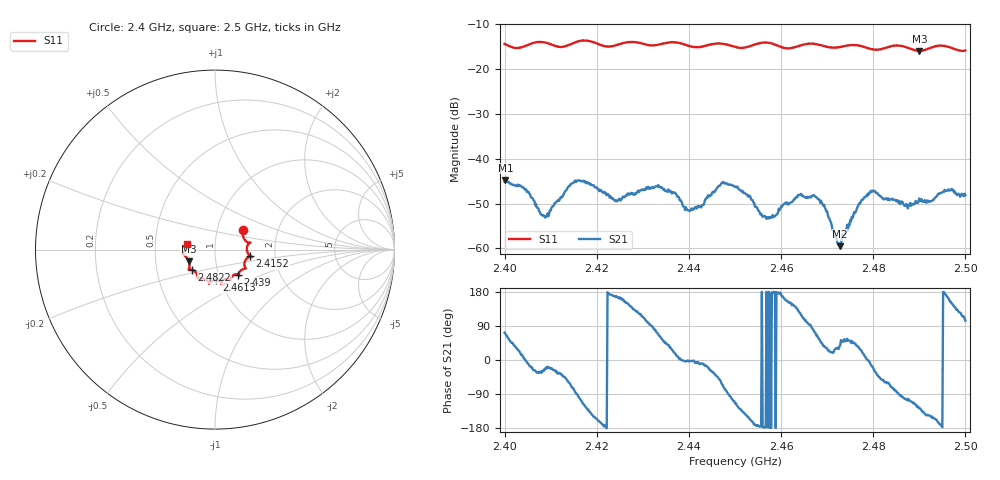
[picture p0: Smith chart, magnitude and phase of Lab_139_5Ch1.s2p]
# Hz S RI R 50
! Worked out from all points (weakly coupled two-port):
!   601 points, 2.4 GHz to 2.5 GHz, reference 50 ohm
!   highest |S21| = -44.73 dB at 2.4002 GHz (marker M1); lowest = -59.5 dB at 2.4728 GHz (marker M2)
!   lowest |S11| = -15.9 dB at 2.49 GHz (marker M3), VSWR 1.38, Z = 36.9 - j4.87 ohm
!   |S11| at or under -10 dB: start of sweep to end of sweep
!   S12 and S22 are empty: the file has one direction only
!   S11 on the Smith chart (normalised r, x): 2.4 GHz: 1.33, +0.31; 2.4152 GHz: 1.48, -0.11; 2.439 GHz: 1.24, -0.36; 2.4613 GHz: 0.96, -0.34; 2.4822 GHz: 0.76, -0.17; 2.5 GHz: 0.73, +0.05
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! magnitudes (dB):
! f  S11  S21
! 2.4 GHz  -14.4  -45.2
! 2.4002 GHz  -14.4  -44.7
! 2.4042 GHz  -14.9  -46.5
! 2.4087 GHz  -14.0  -52.8
! 2.4152 GHz  -14.1  -45.0
! 2.4167 GHz  -13.6  -45.1
! 2.4242 GHz  -14.6  -49.3
! 2.4333 GHz  -14.5  -45.9
! 2.439 GHz  -14.5  -50.8
! 2.4428 GHz  -15.0  -50.4
! 2.4472 GHz  -14.3  -45.4
! 2.45 GHz  -15.0  -46.3
! 2.4565 GHz  -14.0  -52.8
! 2.4613 GHz  -15.3  -49.8
! 2.4667 GHz  -14.3  -48.3
! 2.4692 GHz  -14.8  -50.5
! 2.4728 GHz  -15.0  -59.5
! 2.4778 GHz  -15.0  -49.0
! 2.4822 GHz  -15.4  -49.0
! 2.4833 GHz  -15.0  -48.9
! 2.49 GHz  -15.9  -48.9
! 2.5 GHz  -15.8  -48.2
